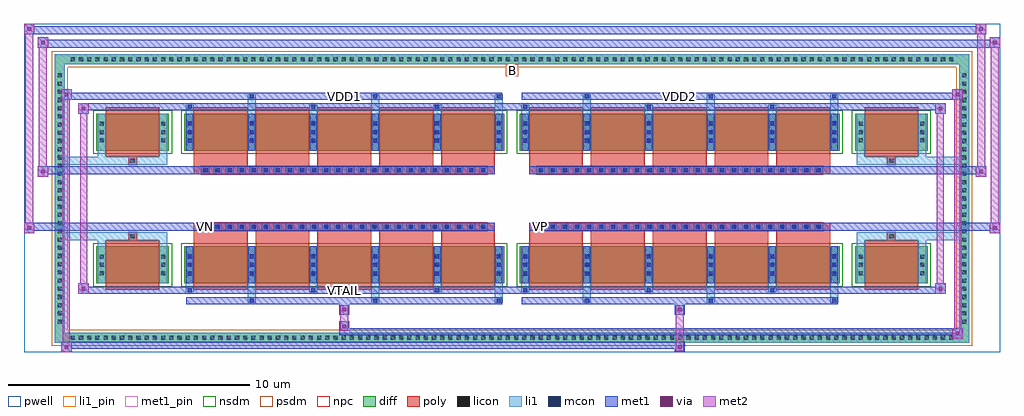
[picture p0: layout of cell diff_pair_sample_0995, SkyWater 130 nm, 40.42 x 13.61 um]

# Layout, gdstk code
import gdstk
lib = gdstk.Library(unit=1e-6, precision=5e-09)
def R(c, l, rs):  # rectangles x0, y0, x1, y1
    for r in rs: c.add(gdstk.rectangle(r[:2], r[2:], *l))
def A(c, l, x, y, w, h, nx, ny, dx, dy):  # array of equal rectangles
    R(c, l, [(x+i*dx, y+j*dy, x+i*dx+w, y+j*dy+h) for i in range(nx) for j in range(ny)])
def P(c, l, *ps):  # polygons
    for p in ps: c.add(gdstk.Polygon(p, *l))
pwell = (64, 44)
diff = (65, 20)
poly = (66, 20)
licon = (66, 44)
li1_pin = (67, 16)
li1 = (67, 20)
mcon = (67, 44)
met1_pin = (68, 16)
met1 = (68, 20)
via = (68, 44)
met2 = (69, 20)
nsdm = (93, 44)
psdm = (94, 20)
npc = (95, 20)

diff_pair_sample_0995 = lib.new_cell('diff_pair_sample_0995')
R(diff_pair_sample_0995, pwell, [(-20.21,-6.37,20.21,7.24), (-17.53,-4.56,-0.01,-0.8), (0.01,-4.56,17.53,-0.8), (-17.53,0.8,-0.01,4.56), (0.01,0.8,17.53,4.56)])
A(diff_pair_sample_0995, diff, -18.395, -5.97, 0.41, 0.41, 108, 2, 0.34, 11.53)
A(diff_pair_sample_0995, diff, -18.94, -5.305, 0.41, 0.41, 1, 31, 0, 0.34)
A(diff_pair_sample_0995, diff, 18.53, -5.305, 0.41, 0.41, 1, 31, 0, 0.34)
R(diff_pair_sample_0995, diff, [(-18.395,-5.97,18.395,-5.56), (-18.94,-5.305,-18.53,5.305), (18.53,-5.305,18.94,5.305), (-17.22,-3.515,-14.21,-1.985), (-13.57,-3.515,-0.32,-1.985), (0.32,-3.515,13.57,-1.985), (14.21,-3.515,17.22,-1.985), (-17.22,1.985,-14.21,3.515), (-13.57,1.985,-0.32,3.515), (0.32,1.985,13.57,3.515), (14.21,1.985,17.22,3.515), (-18.395,5.56,18.395,5.97)])
P(diff_pair_sample_0995, diff, [(18.94,5.97),(-18.94,5.97),(-18.94,-5.56),(-18.53,-5.56),(-18.53,5.56),(18.53,5.56),(18.53,-5.56),(-18.53,-5.56),(-18.94,-5.56),(-18.94,-5.97),(18.94,-5.97)])
A(diff_pair_sample_0995, poly, -13.18, -3.77, 2.23, 2.04, 5, 2, 2.56, 5.5)
A(diff_pair_sample_0995, poly, 0.71, -3.77, 2.23, 2.04, 5, 2, 2.56, 5.5)
A(diff_pair_sample_0995, poly, -13.18, -1.73, 2.23, 0.4, 5, 2, 2.56, 3.06)
A(diff_pair_sample_0995, poly, 0.71, -1.73, 2.23, 0.4, 5, 2, 2.56, 3.06)
A(diff_pair_sample_0995, poly, -12.86, -1.33, 0.33, 0.33, 24, 2, 0.5, 2.33)
A(diff_pair_sample_0995, poly, 1.03, -1.33, 0.33, 0.33, 24, 2, 0.5, 2.33)
R(diff_pair_sample_0995, poly, [(-16.83,-3.77,-14.6,-1.73), (14.6,-3.77,16.83,-1.73), (-15.88,-1.73,-15.55,-1.4), (-15.88,-1.73,-15.55,-1.4), (15.55,-1.73,15.88,-1.4), (15.55,-1.73,15.88,-1.4), (-13.18,-1.33,-0.71,-1), (0.71,-1.33,13.18,-1), (-13.18,1,-0.71,1.33), (0.71,1,13.18,1.33), (-15.88,1.4,-15.55,1.73), (-15.88,1.4,-15.55,1.73), (15.55,1.4,15.88,1.73), (15.55,1.4,15.88,1.73), (-16.83,1.73,-14.6,3.77), (14.6,1.73,16.83,3.77)])
A(diff_pair_sample_0995, licon, -18.275, -5.85, 0.17, 0.17, 108, 2, 0.34, 11.53)
A(diff_pair_sample_0995, licon, -18.82, -5.185, 0.17, 0.17, 1, 31, 0, 0.34)
A(diff_pair_sample_0995, licon, 18.65, -5.185, 0.17, 0.17, 1, 31, 0, 0.34)
A(diff_pair_sample_0995, licon, -17.08, -3.175, 0.17, 0.17, 1, 3, 0, 0.34)
A(diff_pair_sample_0995, licon, -14.52, -3.175, 0.17, 0.17, 1, 3, 0, 0.34)
A(diff_pair_sample_0995, licon, -13.43, -3.175, 0.17, 0.17, 6, 3, 2.56, 0.34)
A(diff_pair_sample_0995, licon, 0.46, -3.175, 0.17, 0.17, 6, 3, 2.56, 0.34)
A(diff_pair_sample_0995, licon, 14.35, -3.175, 0.17, 0.17, 1, 3, 0, 0.34)
A(diff_pair_sample_0995, licon, 16.91, -3.175, 0.17, 0.17, 1, 3, 0, 0.34)
A(diff_pair_sample_0995, licon, -12.78, -1.25, 0.17, 0.17, 24, 2, 0.5, 2.33)
A(diff_pair_sample_0995, licon, 1.11, -1.25, 0.17, 0.17, 24, 2, 0.5, 2.33)
A(diff_pair_sample_0995, licon, -17.08, 2.325, 0.17, 0.17, 1, 3, 0, 0.34)
A(diff_pair_sample_0995, licon, -14.52, 2.325, 0.17, 0.17, 1, 3, 0, 0.34)
A(diff_pair_sample_0995, licon, -13.43, 2.325, 0.17, 0.17, 6, 3, 2.56, 0.34)
A(diff_pair_sample_0995, licon, 0.46, 2.325, 0.17, 0.17, 6, 3, 2.56, 0.34)
A(diff_pair_sample_0995, licon, 14.35, 2.325, 0.17, 0.17, 1, 3, 0, 0.34)
A(diff_pair_sample_0995, licon, 16.91, 2.325, 0.17, 0.17, 1, 3, 0, 0.34)
R(diff_pair_sample_0995, licon, [(-15.8,-1.65,-15.63,-1.48), (15.63,-1.65,15.8,-1.48), (-15.8,1.48,-15.63,1.65), (15.63,1.48,15.8,1.65)])
R(diff_pair_sample_0995, li1_pin, [(-0.25,5.06,0.25,5.56)])
A(diff_pair_sample_0995, li1, -18.355, -5.93, 0.33, 0.33, 108, 2, 0.34, 11.53)
A(diff_pair_sample_0995, li1, -18.9, -5.265, 0.33, 0.33, 1, 31, 0, 0.34)
A(diff_pair_sample_0995, li1, 18.57, -5.265, 0.33, 0.33, 1, 31, 0, 0.34)
A(diff_pair_sample_0995, li1, -10.95, -4.32, 0.33, 0.805, 3, 2, 5.12, 7.835)
A(diff_pair_sample_0995, li1, -10.87, -4.32, 0.17, 0.17, 3, 2, 5.12, 8.47)
A(diff_pair_sample_0995, li1, 2.94, -4.32, 0.33, 0.805, 3, 2, 5.12, 7.835)
A(diff_pair_sample_0995, li1, 3.02, -4.32, 0.17, 0.17, 3, 2, 5.12, 8.47)
A(diff_pair_sample_0995, li1, -13.51, -3.89, 0.33, 0.375, 3, 2, 5.12, 7.405)
A(diff_pair_sample_0995, li1, -13.43, -3.89, 0.17, 0.17, 3, 2, 5.12, 7.61)
A(diff_pair_sample_0995, li1, 0.38, -3.89, 0.33, 0.375, 3, 2, 5.12, 7.405)
A(diff_pair_sample_0995, li1, 0.46, -3.89, 0.17, 0.17, 3, 2, 5.12, 7.61)
A(diff_pair_sample_0995, li1, -13.51, -3.515, 0.33, 1.53, 6, 2, 2.56, 5.5)
A(diff_pair_sample_0995, li1, 0.38, -3.515, 0.33, 1.53, 6, 2, 2.56, 5.5)
A(diff_pair_sample_0995, li1, -17.16, -3.255, 0.33, 0.33, 1, 3, 0, 0.34)
A(diff_pair_sample_0995, li1, -14.6, -3.255, 0.33, 0.33, 1, 3, 0, 0.34)
A(diff_pair_sample_0995, li1, -13.51, -3.255, 0.33, 0.33, 6, 3, 2.56, 0.34)
A(diff_pair_sample_0995, li1, 0.38, -3.255, 0.33, 0.33, 6, 3, 2.56, 0.34)
A(diff_pair_sample_0995, li1, 14.27, -3.255, 0.33, 0.33, 1, 3, 0, 0.34)
A(diff_pair_sample_0995, li1, 16.83, -3.255, 0.33, 0.33, 1, 3, 0, 0.34)
A(diff_pair_sample_0995, li1, -13.43, -3.195, 0.17, 0.17, 6, 3, 2.56, 0.36)
A(diff_pair_sample_0995, li1, -13.43, -3.195, 0.17, 0.89, 6, 2, 2.56, 5.5)
A(diff_pair_sample_0995, li1, 0.46, -3.195, 0.17, 0.17, 6, 3, 2.56, 0.36)
A(diff_pair_sample_0995, li1, 0.46, -3.195, 0.17, 0.89, 6, 2, 2.56, 5.5)
A(diff_pair_sample_0995, li1, -12.86, -1.33, 0.33, 0.33, 24, 2, 0.5, 2.33)
A(diff_pair_sample_0995, li1, 1.03, -1.33, 0.33, 0.33, 24, 2, 0.5, 2.33)
A(diff_pair_sample_0995, li1, -17.16, 2.245, 0.33, 0.33, 1, 3, 0, 0.34)
A(diff_pair_sample_0995, li1, -14.6, 2.245, 0.33, 0.33, 1, 3, 0, 0.34)
A(diff_pair_sample_0995, li1, -13.51, 2.245, 0.33, 0.33, 6, 3, 2.56, 0.34)
A(diff_pair_sample_0995, li1, 0.38, 2.245, 0.33, 0.33, 6, 3, 2.56, 0.34)
A(diff_pair_sample_0995, li1, 14.27, 2.245, 0.33, 0.33, 1, 3, 0, 0.34)
A(diff_pair_sample_0995, li1, 16.83, 2.245, 0.33, 0.33, 1, 3, 0, 0.34)
A(diff_pair_sample_0995, li1, -13.43, 2.305, 0.17, 0.17, 6, 3, 2.56, 0.36)
A(diff_pair_sample_0995, li1, 0.46, 2.305, 0.17, 0.17, 6, 3, 2.56, 0.36)
R(diff_pair_sample_0995, li1, [(-18.94,-5.97,-18.53,-5.56), (-18.94,-5.97,-18.53,-5.56), (-18.53,-5.97,18.53,-5.56), (18.53,-5.97,18.94,-5.56), (18.53,-5.97,18.94,-5.56), (-18.94,-5.56,-18.53,5.56), (18.53,-5.56,18.94,5.56), (-17.16,-3.515,-16.83,-1.985), (-14.6,-3.515,-14.27,-1.985), (14.27,-3.515,14.6,-1.985), (16.83,-3.515,17.16,-1.985), (-17.16,-1.985,-16.83,-1.4), (-14.6,-1.985,-14.27,-1.4), (14.27,-1.985,14.6,-1.4), (16.83,-1.985,17.16,-1.4), (-18.94,-1.73,-15.88,-1.4), (-17.16,-1.73,-15.88,-1.4), (-15.88,-1.73,-15.55,-1.4), (-15.55,-1.73,-14.27,-1.4), (14.27,-1.73,15.55,-1.4), (15.55,-1.73,15.88,-1.4), (15.55,-1.73,18.94,-1.4), (15.88,-1.73,17.16,-1.4), (-18.94,1.4,-15.88,1.73), (-17.16,1.4,-15.88,1.73), (-17.16,1.4,-16.83,1.985), (-15.88,1.4,-15.55,1.73), (-15.55,1.4,-14.27,1.73), (-14.6,1.4,-14.27,1.985), (14.27,1.4,15.55,1.73), (14.27,1.4,14.6,1.985), (15.55,1.4,15.88,1.73), (15.55,1.4,18.94,1.73), (15.88,1.4,17.16,1.73), (16.83,1.4,17.16,1.985), (-17.16,1.985,-16.83,3.515), (-14.6,1.985,-14.27,3.515), (14.27,1.985,14.6,3.515), (16.83,1.985,17.16,3.515), (-18.94,5.56,-18.53,5.97), (-18.94,5.56,-18.53,5.97), (-18.53,5.56,18.53,5.97), (18.53,5.56,18.94,5.97), (18.53,5.56,18.94,5.97)])
A(diff_pair_sample_0995, mcon, -10.87, -4.32, 0.17, 0.17, 3, 2, 5.12, 8.47)
A(diff_pair_sample_0995, mcon, 3.02, -4.32, 0.17, 0.17, 3, 2, 5.12, 8.47)
A(diff_pair_sample_0995, mcon, -13.43, -3.89, 0.17, 0.17, 3, 2, 5.12, 7.61)
A(diff_pair_sample_0995, mcon, 0.46, -3.89, 0.17, 0.17, 3, 2, 5.12, 7.61)
A(diff_pair_sample_0995, mcon, -13.43, -3.195, 0.17, 0.17, 6, 3, 2.56, 0.36)
A(diff_pair_sample_0995, mcon, 0.46, -3.195, 0.17, 0.17, 6, 3, 2.56, 0.36)
A(diff_pair_sample_0995, mcon, -12.78, -1.25, 0.17, 0.17, 24, 2, 0.5, 2.33)
A(diff_pair_sample_0995, mcon, 1.11, -1.25, 0.17, 0.17, 24, 2, 0.5, 2.33)
A(diff_pair_sample_0995, mcon, -13.43, 2.305, 0.17, 0.17, 6, 3, 2.56, 0.36)
A(diff_pair_sample_0995, mcon, 0.46, 2.305, 0.17, 0.17, 6, 3, 2.56, 0.36)
R(diff_pair_sample_0995, met1_pin, [(-7.08,-3.93,-6.81,-3.66), (-12.83,-1.29,-12.56,-1.02), (1.06,-1.29,1.33,-1.02), (-7.08,4.11,-6.81,4.38), (6.81,4.11,7.08,4.38)])
A(diff_pair_sample_0995, met1, -10.93, -4.38, 0.29, 0.29, 3, 2, 5.12, 8.47)
A(diff_pair_sample_0995, met1, 2.96, -4.38, 0.29, 0.29, 3, 2, 5.12, 8.47)
A(diff_pair_sample_0995, met1, -13.49, -3.95, 0.29, 0.29, 3, 2, 5.12, 7.61)
A(diff_pair_sample_0995, met1, 0.4, -3.95, 0.29, 0.29, 3, 2, 5.12, 7.61)
A(diff_pair_sample_0995, met1, -13.49, -3.515, 0.29, 1.53, 6, 2, 2.56, 5.5)
A(diff_pair_sample_0995, met1, 0.4, -3.515, 0.29, 1.53, 6, 2, 2.56, 5.5)
A(diff_pair_sample_0995, met1, -13.49, -3.255, 0.29, 0.29, 6, 3, 2.56, 0.36)
A(diff_pair_sample_0995, met1, 0.4, -3.255, 0.29, 0.29, 6, 3, 2.56, 0.36)
A(diff_pair_sample_0995, met1, -12.84, -1.31, 0.29, 0.29, 24, 2, 0.5, 2.33)
A(diff_pair_sample_0995, met1, 1.05, -1.31, 0.29, 0.29, 24, 2, 0.5, 2.33)
A(diff_pair_sample_0995, met1, -13.49, 2.245, 0.29, 0.29, 6, 3, 2.56, 0.36)
A(diff_pair_sample_0995, met1, 0.4, 2.245, 0.29, 0.29, 6, 3, 2.56, 0.36)
R(diff_pair_sample_0995, met1, [(-18.67,-6.37,-18.24,-5.94), (6.73,-6.37,7.16,-5.94), (-18.67,-6.23,7.16,-5.94), (18.24,-5.8,18.67,-5.37), (-7.16,-5.66,18.67,-5.37), (-7.16,-5.52,-6.73,-5.09), (-7.16,-4.81,-6.73,-4.38), (6.73,-4.81,7.16,-4.38), (-13.49,-4.38,-0.4,-4.09), (0.4,-4.38,13.49,-4.09), (-17.96,-3.95,-17.53,-3.52), (-17.96,-3.95,-13.49,-3.66), (-13.49,-3.95,-0.4,-3.66), (-0.4,-3.95,0.4,-3.66), (0.4,-3.95,13.49,-3.66), (13.49,-3.95,17.96,-3.66), (17.53,-3.95,17.96,-3.52), (-20.21,-1.43,-19.78,-1), (19.78,-1.43,20.21,-1), (-20.21,-1.33,-0.71,-1), (-13.18,-1.33,-0.71,-1), (0.71,-1.33,13.18,-1), (0.71,-1.33,20.21,-1), (-19.64,0.9,-19.21,1.33), (19.21,0.9,19.64,1.33), (-19.64,1,-13.18,1.33), (-13.18,1,-0.71,1.33), (0.71,1,13.18,1.33), (13.18,1,19.64,1.33), (-17.96,3.52,-17.53,3.95), (17.53,3.52,17.96,3.95), (-17.96,3.66,-13.49,3.95), (-13.49,3.66,-0.4,3.95), (-0.4,3.66,0.4,3.95), (0.4,3.66,13.49,3.95), (13.49,3.66,17.96,3.95), (-18.67,4.09,-18.24,4.52), (-18.67,4.09,-13.49,4.38), (-13.49,4.09,-0.4,4.38), (0.4,4.09,13.49,4.38), (13.49,4.09,18.67,4.38), (18.24,4.09,18.67,4.52), (-19.64,6.24,-19.21,6.67), (-19.64,6.24,-17.53,6.57), (-17.53,6.24,17.53,6.57), (17.53,6.24,20.21,6.57), (19.78,6.24,20.21,6.67), (-20.21,6.81,-19.78,7.24), (-20.21,6.81,-17.53,7.14), (-17.53,6.81,17.53,7.14), (17.53,6.81,19.64,7.14), (19.21,6.81,19.64,7.24)])
R(diff_pair_sample_0995, via, [(-18.53,-6.23,-18.38,-6.08), (6.87,-6.23,7.02,-6.08), (18.38,-5.66,18.53,-5.51), (-7.02,-5.38,-6.87,-5.23), (-7.02,-4.67,-6.87,-4.52), (6.87,-4.67,7.02,-4.52), (-17.82,-3.81,-17.67,-3.66), (17.67,-3.81,17.82,-3.66), (-20.07,-1.29,-19.92,-1.14), (19.92,-1.29,20.07,-1.14), (-19.5,1.04,-19.35,1.19), (19.35,1.04,19.5,1.19), (-17.82,3.66,-17.67,3.81), (17.67,3.66,17.82,3.81), (-18.53,4.23,-18.38,4.38), (18.38,4.23,18.53,4.38), (-19.5,6.38,-19.35,6.53), (19.92,6.38,20.07,6.53), (-20.07,6.95,-19.92,7.1), (19.35,6.95,19.5,7.1)])
R(diff_pair_sample_0995, met2, [(-18.67,-6.37,-18.24,-5.94), (-18.6,-6.37,-18.31,4.52), (-18.31,-6.37,-18.24,-5.94), (-18.62,-6.32,-18.29,-5.99), (6.78,-6.32,7.11,-5.99), (6.78,-5.99,7.11,-4.76), (18.24,-5.8,18.67,-5.37), (18.31,-5.8,18.6,4.52), (18.6,-5.8,18.67,-5.37), (18.29,-5.75,18.62,-5.42), (-7.11,-5.47,-6.78,-5.14), (-7.11,-5.14,-6.78,-4.76), (-7.11,-4.76,-6.78,-4.43), (6.78,-4.76,7.11,-4.43), (-17.96,-3.95,-17.53,-3.52), (-17.89,-3.95,-17.6,3.95), (-17.6,-3.95,-17.53,-3.52), (17.53,-3.95,17.96,-3.52), (17.6,-3.95,17.89,3.95), (17.89,-3.95,17.96,-3.52), (-17.91,-3.9,-17.58,-3.57), (17.58,-3.9,17.91,-3.57), (-20.21,-1.43,-19.78,-1), (-20.16,-1.43,-19.83,7.24), (-19.83,-1.43,-19.78,-1), (19.78,-1.43,20.21,-1), (19.83,-1.43,20.16,6.67), (20.16,-1.43,20.21,-1), (-20.16,-1.38,-19.83,-1.05), (19.83,-1.38,20.16,-1.05), (-19.64,0.9,-19.21,1.33), (-19.59,0.9,-19.26,6.67), (-19.26,0.9,-19.21,1.33), (19.21,0.9,19.64,1.33), (19.26,0.9,19.59,7.24), (19.59,0.9,19.64,1.33), (-19.59,0.95,-19.26,1.28), (19.26,0.95,19.59,1.28), (-17.96,3.52,-17.53,3.95), (-17.6,3.52,-17.53,3.95), (17.53,3.52,17.96,3.95), (17.89,3.52,17.96,3.95), (-17.91,3.57,-17.58,3.9), (17.58,3.57,17.91,3.9), (-18.67,4.09,-18.24,4.52), (-18.31,4.09,-18.24,4.52), (18.24,4.09,18.67,4.52), (18.6,4.09,18.67,4.52), (-18.62,4.14,-18.29,4.47), (18.29,4.14,18.62,4.47), (-19.64,6.24,-19.21,6.67), (-19.26,6.24,-19.21,6.67), (19.78,6.24,20.21,6.67), (20.16,6.24,20.21,6.67), (-19.59,6.29,-19.26,6.62), (19.83,6.29,20.16,6.62), (-20.21,6.81,-19.78,7.24), (-19.83,6.81,-19.78,7.24), (19.21,6.81,19.64,7.24), (19.59,6.81,19.64,7.24), (-20.16,6.86,-19.83,7.19), (19.26,6.86,19.59,7.19)])
R(diff_pair_sample_0995, nsdm, [(-17.35,-3.645,-14.08,-1.855), (-13.7,-3.645,-0.19,-1.855), (0.19,-3.645,13.7,-1.855), (14.08,-3.645,17.35,-1.855), (-17.35,1.855,-14.08,3.645), (-13.7,1.855,-0.19,3.645), (0.19,1.855,13.7,3.645), (14.08,1.855,17.35,3.645)])
P(diff_pair_sample_0995, psdm, [(19.07,6.1),(-19.07,6.1),(-19.07,-5.43),(-18.4,-5.43),(-18.4,5.43),(18.4,5.43),(18.4,-5.43),(-18.4,-5.43),(-19.07,-5.43),(-19.07,-6.1),(19.07,-6.1)])
A(diff_pair_sample_0995, npc, -12.88, -1.35, 0.37, 0.37, 24, 2, 0.5, 2.33)
A(diff_pair_sample_0995, npc, 1.01, -1.35, 0.37, 0.37, 24, 2, 0.5, 2.33)
R(diff_pair_sample_0995, npc, [(-15.9,-1.75,-15.53,-1.38), (15.53,-1.75,15.9,-1.38), (-12.88,-1.35,-12.01,-0.98), (-12.88,-1.35,-12.01,-0.98), (-12.38,-1.35,-11.51,-0.98), (-12.38,-1.35,-11.51,-0.98), (-11.88,-1.35,-11.01,-0.98), (-11.88,-1.35,-11.01,-0.98), (-11.38,-1.35,-10.51,-0.98), (-11.38,-1.35,-10.51,-0.98), (-10.88,-1.35,-10.01,-0.98), (-10.88,-1.35,-10.01,-0.98), (-10.38,-1.35,-9.51,-0.98), (-10.38,-1.35,-9.51,-0.98), (-9.88,-1.35,-9.01,-0.98), (-9.88,-1.35,-9.01,-0.98), (-9.38,-1.35,-8.51,-0.98), (-9.38,-1.35,-8.51,-0.98), (-8.88,-1.35,-8.01,-0.98), (-8.88,-1.35,-8.01,-0.98), (-8.38,-1.35,-7.51,-0.98), (-8.38,-1.35,-7.51,-0.98), (-7.88,-1.35,-7.01,-0.98), (-7.88,-1.35,-7.01,-0.98), (-7.38,-1.35,-6.51,-0.98), (-7.38,-1.35,-6.51,-0.98), (-6.88,-1.35,-6.01,-0.98), (-6.88,-1.35,-6.01,-0.98), (-6.38,-1.35,-5.51,-0.98), (-6.38,-1.35,-5.51,-0.98), (-5.88,-1.35,-5.01,-0.98), (-5.88,-1.35,-5.01,-0.98), (-5.38,-1.35,-4.51,-0.98), (-5.38,-1.35,-4.51,-0.98), (-4.88,-1.35,-4.01,-0.98), (-4.88,-1.35,-4.01,-0.98), (-4.38,-1.35,-3.51,-0.98), (-4.38,-1.35,-3.51,-0.98), (-3.88,-1.35,-3.01,-0.98), (-3.88,-1.35,-3.01,-0.98), (-3.38,-1.35,-2.51,-0.98), (-3.38,-1.35,-2.51,-0.98), (-2.88,-1.35,-2.01,-0.98), (-2.88,-1.35,-2.01,-0.98), (-2.38,-1.35,-1.51,-0.98), (-2.38,-1.35,-1.51,-0.98), (-1.88,-1.35,-1.01,-0.98), (-1.88,-1.35,-1.01,-0.98), (1.01,-1.35,1.88,-0.98), (1.01,-1.35,1.88,-0.98), (1.51,-1.35,2.38,-0.98), (1.51,-1.35,2.38,-0.98), (2.01,-1.35,2.88,-0.98), (2.01,-1.35,2.88,-0.98), (2.51,-1.35,3.38,-0.98), (2.51,-1.35,3.38,-0.98), (3.01,-1.35,3.88,-0.98), (3.01,-1.35,3.88,-0.98), (3.51,-1.35,4.38,-0.98), (3.51,-1.35,4.38,-0.98), (4.01,-1.35,4.88,-0.98), (4.01,-1.35,4.88,-0.98), (4.51,-1.35,5.38,-0.98), (4.51,-1.35,5.38,-0.98), (5.01,-1.35,5.88,-0.98), (5.01,-1.35,5.88,-0.98), (5.51,-1.35,6.38,-0.98), (5.51,-1.35,6.38,-0.98), (6.01,-1.35,6.88,-0.98), (6.01,-1.35,6.88,-0.98), (6.51,-1.35,7.38,-0.98), (6.51,-1.35,7.38,-0.98), (7.01,-1.35,7.88,-0.98), (7.01,-1.35,7.88,-0.98), (7.51,-1.35,8.38,-0.98), (7.51,-1.35,8.38,-0.98), (8.01,-1.35,8.88,-0.98), (8.01,-1.35,8.88,-0.98), (8.51,-1.35,9.38,-0.98), (8.51,-1.35,9.38,-0.98), (9.01,-1.35,9.88,-0.98), (9.01,-1.35,9.88,-0.98), (9.51,-1.35,10.38,-0.98), (9.51,-1.35,10.38,-0.98), (10.01,-1.35,10.88,-0.98), (10.01,-1.35,10.88,-0.98), (10.51,-1.35,11.38,-0.98), (10.51,-1.35,11.38,-0.98), (11.01,-1.35,11.88,-0.98), (11.01,-1.35,11.88,-0.98), (11.51,-1.35,12.38,-0.98), (11.51,-1.35,12.38,-0.98), (12.01,-1.35,12.88,-0.98), (12.01,-1.35,12.88,-0.98), (-12.88,0.98,-12.01,1.35), (-12.88,0.98,-12.01,1.35), (-12.38,0.98,-11.51,1.35), (-12.38,0.98,-11.51,1.35), (-11.88,0.98,-11.01,1.35), (-11.88,0.98,-11.01,1.35), (-11.38,0.98,-10.51,1.35), (-11.38,0.98,-10.51,1.35), (-10.88,0.98,-10.01,1.35), (-10.88,0.98,-10.01,1.35), (-10.38,0.98,-9.51,1.35), (-10.38,0.98,-9.51,1.35), (-9.88,0.98,-9.01,1.35), (-9.88,0.98,-9.01,1.35), (-9.38,0.98,-8.51,1.35), (-9.38,0.98,-8.51,1.35), (-8.88,0.98,-8.01,1.35), (-8.88,0.98,-8.01,1.35), (-8.38,0.98,-7.51,1.35), (-8.38,0.98,-7.51,1.35), (-7.88,0.98,-7.01,1.35), (-7.88,0.98,-7.01,1.35), (-7.38,0.98,-6.51,1.35), (-7.38,0.98,-6.51,1.35), (-6.88,0.98,-6.01,1.35), (-6.88,0.98,-6.01,1.35), (-6.38,0.98,-5.51,1.35), (-6.38,0.98,-5.51,1.35), (-5.88,0.98,-5.01,1.35), (-5.88,0.98,-5.01,1.35), (-5.38,0.98,-4.51,1.35), (-5.38,0.98,-4.51,1.35), (-4.88,0.98,-4.01,1.35), (-4.88,0.98,-4.01,1.35), (-4.38,0.98,-3.51,1.35), (-4.38,0.98,-3.51,1.35), (-3.88,0.98,-3.01,1.35), (-3.88,0.98,-3.01,1.35), (-3.38,0.98,-2.51,1.35), (-3.38,0.98,-2.51,1.35), (-2.88,0.98,-2.01,1.35), (-2.88,0.98,-2.01,1.35), (-2.38,0.98,-1.51,1.35), (-2.38,0.98,-1.51,1.35), (-1.88,0.98,-1.01,1.35), (-1.88,0.98,-1.01,1.35), (1.01,0.98,1.88,1.35), (1.01,0.98,1.88,1.35), (1.51,0.98,2.38,1.35), (1.51,0.98,2.38,1.35), (2.01,0.98,2.88,1.35), (2.01,0.98,2.88,1.35), (2.51,0.98,3.38,1.35), (2.51,0.98,3.38,1.35), (3.01,0.98,3.88,1.35), (3.01,0.98,3.88,1.35), (3.51,0.98,4.38,1.35), (3.51,0.98,4.38,1.35), (4.01,0.98,4.88,1.35), (4.01,0.98,4.88,1.35), (4.51,0.98,5.38,1.35), (4.51,0.98,5.38,1.35), (5.01,0.98,5.88,1.35), (5.01,0.98,5.88,1.35), (5.51,0.98,6.38,1.35), (5.51,0.98,6.38,1.35), (6.01,0.98,6.88,1.35), (6.01,0.98,6.88,1.35), (6.51,0.98,7.38,1.35), (6.51,0.98,7.38,1.35), (7.01,0.98,7.88,1.35), (7.01,0.98,7.88,1.35), (7.51,0.98,8.38,1.35), (7.51,0.98,8.38,1.35), (8.01,0.98,8.88,1.35), (8.01,0.98,8.88,1.35), (8.51,0.98,9.38,1.35), (8.51,0.98,9.38,1.35), (9.01,0.98,9.88,1.35), (9.01,0.98,9.88,1.35), (9.51,0.98,10.38,1.35), (9.51,0.98,10.38,1.35), (10.01,0.98,10.88,1.35), (10.01,0.98,10.88,1.35), (10.51,0.98,11.38,1.35), (10.51,0.98,11.38,1.35), (11.01,0.98,11.88,1.35), (11.01,0.98,11.88,1.35), (11.51,0.98,12.38,1.35), (11.51,0.98,12.38,1.35), (12.01,0.98,12.88,1.35), (12.01,0.98,12.88,1.35), (-15.9,1.38,-15.53,1.75), (15.53,1.38,15.9,1.75)])
diff_pair_sample_0995.add(gdstk.Label('VTAIL', (-6.945,-3.795), layer=68, texttype=5))
diff_pair_sample_0995.add(gdstk.Label('VN', (-12.695,-1.155), layer=68, texttype=5))
diff_pair_sample_0995.add(gdstk.Label('VP', (1.195,-1.155), layer=68, texttype=5))
diff_pair_sample_0995.add(gdstk.Label('B', (0,5.31), layer=67, texttype=5))
diff_pair_sample_0995.add(gdstk.Label('VDD2', (6.945,4.245), layer=68, texttype=5))
diff_pair_sample_0995.add(gdstk.Label('VDD1', (-6.945,4.245), layer=68, texttype=5))

lib.write_gds('diff_pair_sample_0995.gds')
